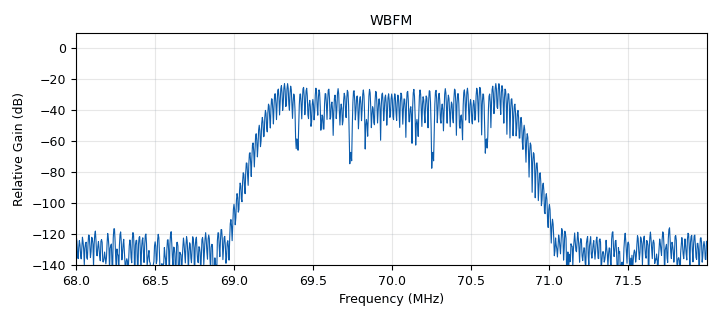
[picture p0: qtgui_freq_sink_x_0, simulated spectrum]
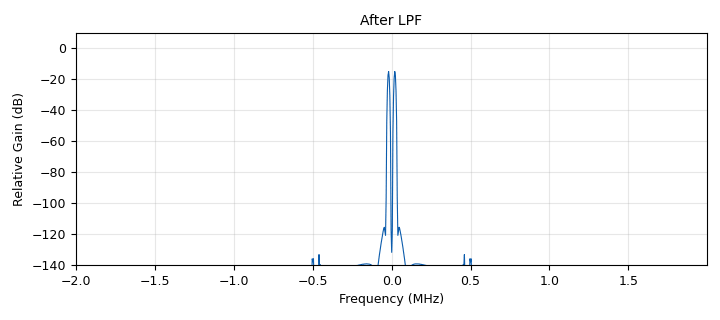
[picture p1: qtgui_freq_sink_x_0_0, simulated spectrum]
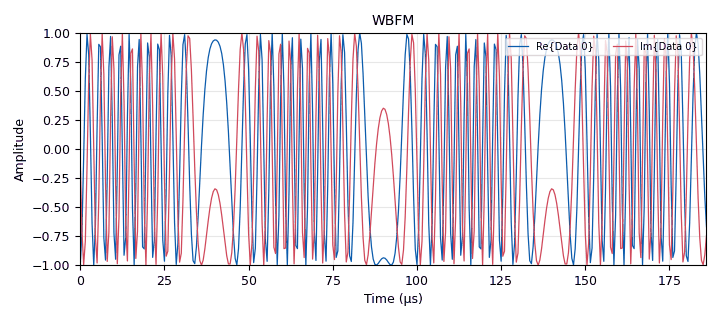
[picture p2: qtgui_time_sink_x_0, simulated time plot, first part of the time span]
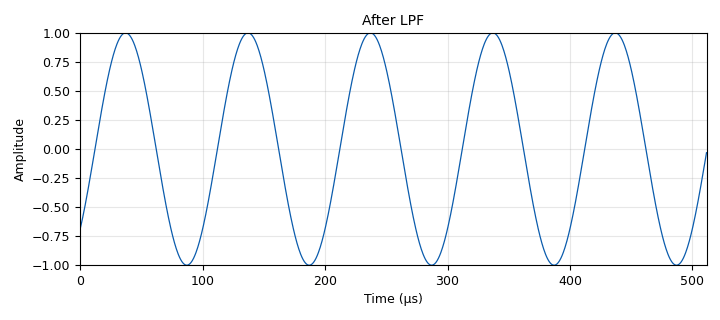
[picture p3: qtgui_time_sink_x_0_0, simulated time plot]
options:
  parameters:
    author: Sneji
    generate_options: qt_gui
    id: USRP_as_transmitter
    output_language: python
    title: USRP as transmitter
  states: {}

blocks:
- name: frequency
  id: variable_qtgui_chooser
  parameters:
    label0: 'Frequency: 0'
    label1: 'Frequency: 15kHz'
    label2: 'Frequency: 10kHz'
    num_opts: '3'
    option0: '0'
    option1: int(15e3)
    option2: int(10e3)
    type: int
    value: int(15e3)
  states: {}
- name: samp_rate
  id: variable
  parameters:
    value: '2000000'
  states: {}
- name: variable_low_pass_filter_taps_0
  id: variable_low_pass_filter_taps
  parameters:
    cutoff_freq: samp_rate/2
    gain: '1.0'
    samp_rate: samp_rate
    width: samp_rate/4
    win: window.WIN_HAMMING
  states: {state: disabled}
- name: analog_sig_source_x_0
  id: analog_sig_source_x
  parameters:
    amp: '1'
    freq: frequency
    offset: '0'
    phase: '0'
    samp_rate: samp_rate
    type: complex
    waveform: analog.GR_COS_WAVE
  states: {state: disabled}
- name: analog_sig_source_x_0_0
  id: analog_sig_source_x
  parameters:
    amp: '1'
    freq: frequency*2
    offset: '0'
    phase: '0'
    samp_rate: samp_rate
    type: complex
    waveform: analog.GR_COS_WAVE
  states: {state: disabled}
- name: analog_sig_source_x_1
  id: analog_sig_source_x
  parameters:
    amp: '1'
    freq: '10000'
    offset: '0'
    phase: '0'
    samp_rate: samp_rate
    type: float
    waveform: analog.GR_SIN_WAVE
  states: {}
- name: analog_wfm_tx_0
  id: analog_wfm_tx
  parameters:
    audio_rate: samp_rate
    fh: '-1.0'
    max_dev: 75e3
    quad_rate: samp_rate
    tau: '75e-6'
  states: {}
- name: blocks_add_xx_0
  id: blocks_add_xx
  parameters:
    type: complex
  states: {state: disabled}
- name: low_pass_filter_0
  id: low_pass_filter
  parameters:
    cutoff_freq: 20e3
    decim: '1'
    gain: '1'
    samp_rate: samp_rate
    type: fir_filter_ccf
    width: 2e3
    win: window.WIN_HAMMING
  states: {state: disabled}
- name: low_pass_filter_1
  id: low_pass_filter
  parameters:
    cutoff_freq: samp_rate/8
    decim: '1'
    gain: '1'
    samp_rate: samp_rate
    type: fir_filter_fff
    width: samp_rate/24
    win: window.WIN_HAMMING
  states: {state: disabled}
- name: qtgui_freq_sink_x_0
  id: qtgui_freq_sink_x
  parameters:
    bw: 2*samp_rate
    fc: 70e6
    fftsize: '1024'
    name: '"WBFM"'
    type: complex
  states: {}
- name: qtgui_freq_sink_x_0_0
  id: qtgui_freq_sink_x
  parameters:
    bw: 2*samp_rate
    fc: '0'
    fftsize: '1024'
    name: '"After LPF"'
    type: float
  states: {}
- name: qtgui_time_sink_x_0
  id: qtgui_time_sink_x
  parameters:
    name: '"WBFM"'
    size: '1024'
    srate: samp_rate
    type: complex
  states: {}
- name: qtgui_time_sink_x_0_0
  id: qtgui_time_sink_x
  parameters:
    name: '"After LPF"'
    size: '1024'
    srate: samp_rate
    type: float
  states: {}
- name: uhd_usrp_sink_0
  id: uhd_usrp_sink
  parameters:
    ant0: '"TX/RX"'
    center_freq0: 70e6
    gain0: '30'
    samp_rate: samp_rate
    sync: sync
    type: fc32
  states: {}

connections:
- [analog_sig_source_x_0, '0', blocks_add_xx_0, '0']
- [analog_sig_source_x_0_0, '0', blocks_add_xx_0, '1']
- [analog_sig_source_x_1, '0', analog_wfm_tx_0, '0']
- [analog_sig_source_x_1, '0', low_pass_filter_1, '0']
- [analog_sig_source_x_1, '0', qtgui_freq_sink_x_0_0, '0']
- [analog_sig_source_x_1, '0', qtgui_time_sink_x_0_0, '0']
- [analog_wfm_tx_0, '0', qtgui_freq_sink_x_0, '0']
- [analog_wfm_tx_0, '0', qtgui_time_sink_x_0, '0']
- [analog_wfm_tx_0, '0', uhd_usrp_sink_0, '0']
- [blocks_add_xx_0, '0', low_pass_filter_0, '0']
- [low_pass_filter_0, '0', qtgui_freq_sink_x_0_0, '0']
- [low_pass_filter_0, '0', qtgui_time_sink_x_0_0, '0']
- [low_pass_filter_1, '0', analog_wfm_tx_0, '0']
- [low_pass_filter_1, '0', qtgui_freq_sink_x_0_0, '0']
- [low_pass_filter_1, '0', qtgui_time_sink_x_0_0, '0']

metadata:
  file_format: 1
  grc_version: 3.10.9.2
